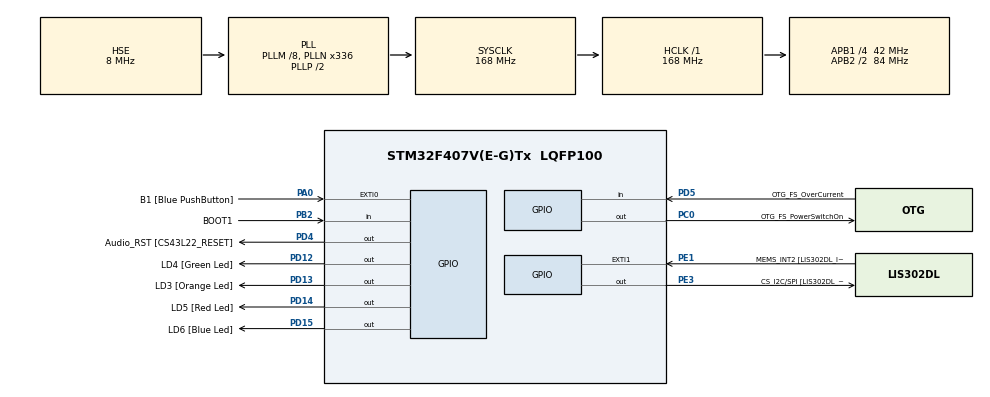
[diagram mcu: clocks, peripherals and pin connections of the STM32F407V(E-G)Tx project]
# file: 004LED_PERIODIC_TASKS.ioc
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Mcu.Family=STM32F4
Mcu.Name=STM32F407V(E-G)Tx
Mcu.Package=LQFP100
NVIC.PriorityGroup=NVIC_PRIORITYGROUP_4
NVIC.TIM6_DAC_IRQn=true\:0\:0\:false\:false\:true\:false\:true
NVIC.TimeBase=TIM6_DAC_IRQn
NVIC.TimeBaseIP=TIM6
PA0-WKUP.GPIO_Label=B1 [Blue PushButton]
PA0-WKUP.Signal=GPXTI0
PA10.GPIO_Label=OTG_FS_ID
PA10.GPIO_Mode=GPIO_MODE_AF_PP
PA10.GPIO_PuPd=GPIO_NOPULL
PA10.GPIO_Speed=GPIO_SPEED_FREQ_LOW
PA10.Signal=USB_OTG_FS_ID
PA11.GPIO_Label=OTG_FS_DM
PA11.GPIO_Mode=GPIO_MODE_AF_PP
PA11.GPIO_PuPd=GPIO_NOPULL
PA11.GPIO_Speed=GPIO_SPEED_FREQ_LOW
PA11.Signal=USB_OTG_FS_DM
PA12.GPIO_Label=OTG_FS_DP
PA12.GPIO_Mode=GPIO_MODE_AF_PP
PA12.GPIO_PuPd=GPIO_NOPULL
PA12.GPIO_Speed=GPIO_SPEED_FREQ_LOW
PA12.Signal=USB_OTG_FS_DP
PA13.GPIO_Label=SWDIO
PA13.Mode=Serial_Wire
PA13.Signal=SYS_JTMS-SWDIO
PA14.GPIO_Label=SWCLK
PA14.Mode=Serial_Wire
PA14.Signal=SYS_JTCK-SWCLK
PA4.GPIO_Label=I2S3_WS [CS43L22_LRCK]
PA4.GPIO_Mode=GPIO_MODE_AF_PP
PA4.GPIO_PuPd=GPIO_NOPULL
PA4.GPIO_Speed=GPIO_SPEED_FREQ_LOW
PA4.Signal=I2S3_WS
PA5.GPIO_Label=SPI1_SCK [LIS302DL_SCL/SPC]
PA5.GPIO_Mode=GPIO_MODE_AF_PP
PA5.GPIO_PuPd=GPIO_NOPULL
PA5.GPIO_Speed=GPIO_SPEED_FREQ_LOW
PA5.Signal=SPI1_SCK
PA6.GPIO_Label=SPI1_MISO [LIS302DL_SDO]
PA6.GPIO_Mode=GPIO_MODE_AF_PP
PA6.GPIO_PuPd=GPIO_NOPULL
PA6.GPIO_Speed=GPIO_SPEED_FREQ_LOW
PA6.Signal=SPI1_MISO
PA7.GPIO_Label=SPI1_MOSI [LIS302DL_SDA/SDI/SDO]
PA7.GPIO_Mode=GPIO_MODE_AF_PP
PA7.GPIO_PuPd=GPIO_NOPULL
PA7.GPIO_Speed=GPIO_SPEED_FREQ_LOW
PA7.Signal=SPI1_MOSI
PA9.GPIO_Label=VBUS_FS
PA9.GPIO_Mode=GPIO_MODE_INPUT
PA9.GPIO_PuPd=GPIO_NOPULL
PA9.Signal=USB_OTG_FS_VBUS
PB10.GPIO_Label=CLK_IN [MP45DT02_CLK]
PB10.GPIO_Mode=GPIO_MODE_AF_PP
PB10.GPIO_PuPd=GPIO_NOPULL
PB10.GPIO_Speed=GPIO_SPEED_FREQ_LOW
PB10.Signal=I2S2_CK
PB2.GPIO_Label=BOOT1
PB2.GPIO_Mode=GPIO_MODE_INPUT
PB2.GPIO_PuPd=GPIO_NOPULL
PB2.Signal=GPIO_Input
PB3.GPIO_Label=SWO
PB3.Signal=SYS_JTDO-SWO
PB6.GPIO_Label=Audio_SCL [CS43L22_SCL]
PB6.GPIO_Mode=GPIO_MODE_AF_OD
PB6.GPIO_PuPd=GPIO_NOPULL
PB6.GPIO_Speed=GPIO_SPEED_FREQ_LOW
PB6.Signal=I2C1_SCL
PB9.GPIO_Label=Audio_SDA [CS43L22_SDA]
PB9.GPIO_Mode=GPIO_MODE_AF_OD
PB9.GPIO_PuPd=GPIO_NOPULL
PB9.GPIO_Speed=GPIO_SPEED_FREQ_LOW
PB9.Signal=I2C1_SDA
PC0.GPIO_Label=OTG_FS_PowerSwitchOn
PC0.GPIO_PuPd=GPIO_NOPULL
PC0.GPIO_Speed=GPIO_SPEED_FREQ_LOW
PC0.PinState=GPIO_PIN_SET
PC0.Signal=GPIO_Output
PC10.GPIO_Label=I2S3_SCK [CS43L22_SCLK]
PC10.GPIO_Mode=GPIO_MODE_AF_PP
PC10.GPIO_PuPd=GPIO_NOPULL
PC10.GPIO_Speed=GPIO_SPEED_FREQ_LOW
PC10.Signal=I2S3_CK
PC12.GPIO_Label=I2S3_SD [CS43L22_SDIN]
PC12.GPIO_Mode=GPIO_MODE_AF_PP
PC12.GPIO_PuPd=GPIO_NOPULL
PC12.GPIO_Speed=GPIO_SPEED_FREQ_LOW
PC12.Signal=I2S3_SD
PC14-OSC32_IN.GPIO_Label=PC14-OSC32_IN
PC14-OSC32_IN.Signal=RCC_OSC32_IN
PC15-OSC32_OUT.GPIO_Label=PC15-OSC32_OUT
PC15-OSC32_OUT.Signal=RCC_OSC32_OUT
PC3.GPIO_Label=PDM_OUT [MP45DT02_DOUT]
PC3.GPIO_Mode=GPIO_MODE_AF_PP
PC3.GPIO_PuPd=GPIO_NOPULL
PC3.GPIO_Speed=GPIO_SPEED_FREQ_LOW
PC3.Signal=I2S2_SD
PC7.GPIO_Label=I2S3_MCK [CS43L22_MCLK]
PC7.GPIO_Mode=GPIO_MODE_AF_PP
PC7.GPIO_PuPd=GPIO_NOPULL
PC7.GPIO_Speed=GPIO_SPEED_FREQ_LOW
PC7.Signal=I2S3_MCK
PD12.GPIO_Label=LD4 [Green Led]
PD12.GPIO_PuPd=GPIO_NOPULL
PD12.GPIO_Speed=GPIO_SPEED_FREQ_LOW
PD12.Signal=GPIO_Output
PD13.GPIO_Label=LD3 [Orange Led]
PD13.GPIO_PuPd=GPIO_NOPULL
PD13.GPIO_Speed=GPIO_SPEED_FREQ_LOW
PD13.Signal=GPIO_Output
PD14.GPIO_Label=LD5 [Red Led]
PD14.GPIO_PuPd=GPIO_NOPULL
PD14.GPIO_Speed=GPIO_SPEED_FREQ_LOW
PD14.Signal=GPIO_Output
PD15.GPIO_Label=LD6 [Blue Led]
PD15.GPIO_PuPd=GPIO_NOPULL
PD15.GPIO_Speed=GPIO_SPEED_FREQ_LOW
PD15.Signal=GPIO_Output
PD4.GPIO_Label=Audio_RST [CS43L22_RESET]
PD4.GPIO_PuPd=GPIO_NOPULL
PD4.GPIO_Speed=GPIO_SPEED_FREQ_LOW
PD4.Signal=GPIO_Output
PD5.GPIO_Label=OTG_FS_OverCurrent
PD5.GPIO_Mode=GPIO_MODE_INPUT
PD5.GPIO_PuPd=GPIO_NOPULL
PD5.Signal=GPIO_Input
PE1.GPIO_Label=MEMS_INT2 [LIS302DL_INT2]
PE1.GPIO_ModeDefaultEXTI=GPIO_MODE_EVT_RISING
PE1.GPIO_PuPd=GPIO_NOPULL
PE1.Signal=GPXTI1
PE3.GPIO_Label=CS_I2C/SPI [LIS302DL_CS_I2C/SPI]
PE3.GPIO_PuPd=GPIO_NOPULL
PE3.GPIO_Speed=GPIO_SPEED_FREQ_LOW
PE3.Signal=GPIO_Output
PH0-OSC_IN.GPIO_Label=PH0-OSC_IN
PH0-OSC_IN.Signal=RCC_OSC_IN
PH1-OSC_OUT.GPIO_Label=PH1-OSC_OUT
PH1-OSC_OUT.Signal=RCC_OSC_OUT
ProjectManager.HeapSize=0x200
ProjectManager.StackSize=0x400
ProjectManager.TargetToolchain=STM32CubeIDE
RCC.48MHZClocksFreq_Value=48000000
RCC.AHBFreq_Value=168000000
RCC.APB1CLKDivider=RCC_HCLK_DIV4
RCC.APB1Freq_Value=42000000
RCC.APB1TimFreq_Value=84000000
RCC.APB2CLKDivider=RCC_HCLK_DIV2
RCC.APB2Freq_Value=84000000
RCC.APB2TimFreq_Value=168000000
RCC.CortexFreq_Value=168000000
RCC.HCLKFreq_Value=168000000
RCC.HSE_VALUE=8000000
RCC.HSI_VALUE=16000000
RCC.LSE_VALUE=32768
RCC.PLLM=8
RCC.PLLN=168
RCC.PLLQ=7
RCC.SYSCLKFreq_VALUE=168000000
RCC.SYSCLKSource=RCC_SYSCLKSOURCE_PLLCLK
RCC.VCOOutputFreq_Value=336000000
VP_SYS_VS_tim6.Mode=TIM6
board=STM32F407G-DISC1

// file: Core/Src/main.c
/* USER CODE BEGIN Header */
/**
  ******************************************************************************
  * @file           : main.c
  * @brief          : Main program body
  ******************************************************************************
  * @attention
  *
  * Copyright (c) 2022 STMicroelectronics.
  * All rights reserved.
  *
  * This software is licensed under terms that can be found in the LICENSE file
  * in the root directory of this software component.
  * If no LICENSE file comes with this software, it is provided AS-IS.
  *
  ******************************************************************************
  */
/* USER CODE END Header */
#include "main.h"

/* USER CODE BEGIN Includes */
#include <stdio.h>
#include "FreeRTOSConfig.h"
#include "FreeRTOS.h"
#include "task.h"

/* USER CODE END Includes */

/* USER CODE BEGIN PV */
#define DWT_CTRL   (*(volatile uint32_t*)0xE0001000)
/* USER CODE END PV */

void SystemClock_Config(void);
static void MX_GPIO_Init(void);
/* USER CODE BEGIN PFP */
static void LED1_function(void* parameters);
static void LED2_function(void* parameters);
static void LED3_function(void* parameters);

extern  void SEGGER_UART_init(uint32_t);
/* USER CODE END PFP */

int main(void)
{
  /* USER CODE BEGIN 1 */
	TaskHandle_t LED1_handle;
	TaskHandle_t LED2_handle;
	TaskHandle_t LED3_handle;
	BaseType_t status;
  /* USER CODE END 1 */

  /* MCU Configuration--------------------------------------------------------*/

  /* Reset of all peripherals, Initializes the Flash interface and the Systick. */
  HAL_Init();

  /* Configure the system clock */
  SystemClock_Config();

  /* Initialize all configured peripherals */
  MX_GPIO_Init();
  /* USER CODE BEGIN 2 */

  //Enable the Cycle counter
  	  DWT_CTRL |= (1<<0);
  	SEGGER_UART_init(250000);
  	  SEGGER_SYSVIEW_Conf();
  	  //SEGGER_SYSVIEW_Start();

  	  status = xTaskCreate(LED1_function,"GREEN LED",200,NULL,2, &LED1_handle);
  	  configASSERT(status == pdPASS);

  	  status = xTaskCreate(LED2_function,"RED LED",200,NULL,2, &LED2_handle);
  	  configASSERT(status == pdPASS);

  	  status = xTaskCreate(LED3_function,"ORANGE LED",200,NULL,2, &LED3_handle);
  	  configASSERT(status == pdPASS);

  	  vTaskStartScheduler();

  /* USER CODE END 2 */

  /* Infinite loop */
  while (1)
  {

  }
}

void SystemClock_Config(void)
{
  RCC_OscInitTypeDef RCC_OscInitStruct = {0};
  RCC_ClkInitTypeDef RCC_ClkInitStruct = {0};

  /** Configure the main internal regulator output voltage
  */
  __HAL_RCC_PWR_CLK_ENABLE();
  __HAL_PWR_VOLTAGESCALING_CONFIG(PWR_REGULATOR_VOLTAGE_SCALE1);
  /** Initializes the RCC Oscillators according to the specified parameters
  * in the RCC_OscInitTypeDef structure.
  */
  RCC_OscInitStruct.OscillatorType = RCC_OSCILLATORTYPE_HSE;
  RCC_OscInitStruct.HSEState = RCC_HSE_ON;
  RCC_OscInitStruct.PLL.PLLState = RCC_PLL_ON;
  RCC_OscInitStruct.PLL.PLLSource = RCC_PLLSOURCE_HSE;
  RCC_OscInitStruct.PLL.PLLM = 8;
  RCC_OscInitStruct.PLL.PLLN = 336;
  RCC_OscInitStruct.PLL.PLLP = RCC_PLLP_DIV2;
  RCC_OscInitStruct.PLL.PLLQ = 7;
  if (HAL_RCC_OscConfig(&RCC_OscInitStruct) != HAL_OK)
  {
    Error_Handler();
  }
  /** Initializes the CPU, AHB and APB buses clocks
  */
  RCC_ClkInitStruct.ClockType = RCC_CLOCKTYPE_HCLK|RCC_CLOCKTYPE_SYSCLK
                              |RCC_CLOCKTYPE_PCLK1|RCC_CLOCKTYPE_PCLK2;
  RCC_ClkInitStruct.SYSCLKSource = RCC_SYSCLKSOURCE_PLLCLK;
  RCC_ClkInitStruct.AHBCLKDivider = RCC_SYSCLK_DIV1;
  RCC_ClkInitStruct.APB1CLKDivider = RCC_HCLK_DIV4;
  RCC_ClkInitStruct.APB2CLKDivider = RCC_HCLK_DIV2;

  if (HAL_RCC_ClockConfig(&RCC_ClkInitStruct, FLASH_LATENCY_5) != HAL_OK)
  {
    Error_Handler();
  }
}

static void MX_GPIO_Init(void)
{
  GPIO_InitTypeDef GPIO_InitStruct = {0};

  /* GPIO Ports Clock Enable */
  __HAL_RCC_GPIOE_CLK_ENABLE();
  __HAL_RCC_GPIOC_CLK_ENABLE();
  __HAL_RCC_GPIOH_CLK_ENABLE();
  __HAL_RCC_GPIOA_CLK_ENABLE();
  __HAL_RCC_GPIOB_CLK_ENABLE();
  __HAL_RCC_GPIOD_CLK_ENABLE();

  /*Configure GPIO pin Output Level */
  HAL_GPIO_WritePin(CS_I2C_SPI_GPIO_Port, CS_I2C_SPI_Pin, GPIO_PIN_RESET);

  /*Configure GPIO pin Output Level */
  HAL_GPIO_WritePin(OTG_FS_PowerSwitchOn_GPIO_Port, OTG_FS_PowerSwitchOn_Pin, GPIO_PIN_SET);

  /*Configure GPIO pin Output Level */
  HAL_GPIO_WritePin(GPIOD, LD4_Pin|LD3_Pin|LD5_Pin|LD6_Pin
                          |Audio_RST_Pin, GPIO_PIN_RESET);

  /*Configure GPIO pin : CS_I2C_SPI_Pin */
  GPIO_InitStruct.Pin = CS_I2C_SPI_Pin;
  GPIO_InitStruct.Mode = GPIO_MODE_OUTPUT_PP;
  GPIO_InitStruct.Pull = GPIO_NOPULL;
  GPIO_InitStruct.Speed = GPIO_SPEED_FREQ_LOW;
  HAL_GPIO_Init(CS_I2C_SPI_GPIO_Port, &GPIO_InitStruct);

  /*Configure GPIO pin : OTG_FS_PowerSwitchOn_Pin */
  GPIO_InitStruct.Pin = OTG_FS_PowerSwitchOn_Pin;
  GPIO_InitStruct.Mode = GPIO_MODE_OUTPUT_PP;
  GPIO_InitStruct.Pull = GPIO_NOPULL;
  GPIO_InitStruct.Speed = GPIO_SPEED_FREQ_LOW;
  HAL_GPIO_Init(OTG_FS_PowerSwitchOn_GPIO_Port, &GPIO_InitStruct);

  /*Configure GPIO pin : PDM_OUT_Pin */
  GPIO_InitStruct.Pin = PDM_OUT_Pin;
  GPIO_InitStruct.Mode = GPIO_MODE_AF_PP;
  GPIO_InitStruct.Pull = GPIO_NOPULL;
  GPIO_InitStruct.Speed = GPIO_SPEED_FREQ_LOW;
  GPIO_InitStruct.Alternate = GPIO_AF5_SPI2;
  HAL_GPIO_Init(PDM_OUT_GPIO_Port, &GPIO_InitStruct);

  /*Configure GPIO pin : B1_Pin */
  GPIO_InitStruct.Pin = B1_Pin;
  GPIO_InitStruct.Mode = GPIO_MODE_EVT_RISING;
  GPIO_InitStruct.Pull = GPIO_NOPULL;
  HAL_GPIO_Init(B1_GPIO_Port, &GPIO_InitStruct);

  /*Configure GPIO pin : I2S3_WS_Pin */
  GPIO_InitStruct.Pin = I2S3_WS_Pin;
  GPIO_InitStruct.Mode = GPIO_MODE_AF_PP;
  GPIO_InitStruct.Pull = GPIO_NOPULL;
  GPIO_InitStruct.Speed = GPIO_SPEED_FREQ_LOW;
  GPIO_InitStruct.Alternate = GPIO_AF6_SPI3;
  HAL_GPIO_Init(I2S3_WS_GPIO_Port, &GPIO_InitStruct);

  /*Configure GPIO pins : SPI1_SCK_Pin SPI1_MISO_Pin SPI1_MOSI_Pin */
  GPIO_InitStruct.Pin = SPI1_SCK_Pin|SPI1_MISO_Pin|SPI1_MOSI_Pin;
  GPIO_InitStruct.Mode = GPIO_MODE_AF_PP;
  GPIO_InitStruct.Pull = GPIO_NOPULL;
  GPIO_InitStruct.Speed = GPIO_SPEED_FREQ_LOW;
  GPIO_InitStruct.Alternate = GPIO_AF5_SPI1;
  HAL_GPIO_Init(GPIOA, &GPIO_InitStruct);

  /*Configure GPIO pin : BOOT1_Pin */
  GPIO_InitStruct.Pin = BOOT1_Pin;
  GPIO_InitStruct.Mode = GPIO_MODE_INPUT;
  GPIO_InitStruct.Pull = GPIO_NOPULL;
  HAL_GPIO_Init(BOOT1_GPIO_Port, &GPIO_InitStruct);

  /*Configure GPIO pin : CLK_IN_Pin */
  GPIO_InitStruct.Pin = CLK_IN_Pin;
  GPIO_InitStruct.Mode = GPIO_MODE_AF_PP;
  GPIO_InitStruct.Pull = GPIO_NOPULL;
  GPIO_InitStruct.Speed = GPIO_SPEED_FREQ_LOW;
  GPIO_InitStruct.Alternate = GPIO_AF5_SPI2;
  HAL_GPIO_Init(CLK_IN_GPIO_Port, &GPIO_InitStruct);

  /*Configure GPIO pins : LD4_Pin LD3_Pin LD5_Pin LD6_Pin
                           Audio_RST_Pin */
  GPIO_InitStruct.Pin = LD4_Pin|LD3_Pin|LD5_Pin|LD6_Pin
                          |Audio_RST_Pin;
  GPIO_InitStruct.Mode = GPIO_MODE_OUTPUT_PP;
  GPIO_InitStruct.Pull = GPIO_NOPULL;
  GPIO_InitStruct.Speed = GPIO_SPEED_FREQ_LOW;
  HAL_GPIO_Init(GPIOD, &GPIO_InitStruct);

  /*Configure GPIO pins : I2S3_MCK_Pin I2S3_SCK_Pin I2S3_SD_Pin */
  GPIO_InitStruct.Pin = I2S3_MCK_Pin|I2S3_SCK_Pin|I2S3_SD_Pin;
  GPIO_InitStruct.Mode = GPIO_MODE_AF_PP;
  GPIO_InitStruct.Pull = GPIO_NOPULL;
  GPIO_InitStruct.Speed = GPIO_SPEED_FREQ_LOW;
  GPIO_InitStruct.Alternate = GPIO_AF6_SPI3;
  HAL_GPIO_Init(GPIOC, &GPIO_InitStruct);

  /*Configure GPIO pin : VBUS_FS_Pin */
  GPIO_InitStruct.Pin = VBUS_FS_Pin;
  GPIO_InitStruct.Mode = GPIO_MODE_INPUT;
  GPIO_InitStruct.Pull = GPIO_NOPULL;
  HAL_GPIO_Init(VBUS_FS_GPIO_Port, &GPIO_InitStruct);

  /*Configure GPIO pins : OTG_FS_ID_Pin OTG_FS_DM_Pin OTG_FS_DP_Pin */
  GPIO_InitStruct.Pin = OTG_FS_ID_Pin|OTG_FS_DM_Pin|OTG_FS_DP_Pin;
  GPIO_InitStruct.Mode = GPIO_MODE_AF_PP;
  GPIO_InitStruct.Pull = GPIO_NOPULL;
  GPIO_InitStruct.Speed = GPIO_SPEED_FREQ_LOW;
  GPIO_InitStruct.Alternate = GPIO_AF10_OTG_FS;
  HAL_GPIO_Init(GPIOA, &GPIO_InitStruct);

  /*Configure GPIO pin : OTG_FS_OverCurrent_Pin */
  GPIO_InitStruct.Pin = OTG_FS_OverCurrent_Pin;
  GPIO_InitStruct.Mode = GPIO_MODE_INPUT;
  GPIO_InitStruct.Pull = GPIO_NOPULL;
  HAL_GPIO_Init(OTG_FS_OverCurrent_GPIO_Port, &GPIO_InitStruct);

  /*Configure GPIO pins : Audio_SCL_Pin Audio_SDA_Pin */
  GPIO_InitStruct.Pin = Audio_SCL_Pin|Audio_SDA_Pin;
  GPIO_InitStruct.Mode = GPIO_MODE_AF_OD;
  GPIO_InitStruct.Pull = GPIO_PULLUP;
  GPIO_InitStruct.Speed = GPIO_SPEED_FREQ_LOW;
  GPIO_InitStruct.Alternate = GPIO_AF4_I2C1;
  HAL_GPIO_Init(GPIOB, &GPIO_InitStruct);

  /*Configure GPIO pin : MEMS_INT2_Pin */
  GPIO_InitStruct.Pin = MEMS_INT2_Pin;
  GPIO_InitStruct.Mode = GPIO_MODE_EVT_RISING;
  GPIO_InitStruct.Pull = GPIO_NOPULL;
  HAL_GPIO_Init(MEMS_INT2_GPIO_Port, &GPIO_InitStruct);

}

/* USER CODE BEGIN 4 */
static void LED1_function(void* parameters)
{
	TickType_t Last_tick_state;
	Last_tick_state = xTaskGetTickCount();
	while(1)
		{
			SEGGER_SYSVIEW_PrintfTarget("Toggling Green LED");
			HAL_GPIO_TogglePin(LD4_GPIO_Port, LD4_Pin);
			// Blocking Delay
			vTaskDelayUntil(&Last_tick_state,pdMS_TO_TICKS(1000));
			//taskYIELD();
		}

}
static void LED2_function(void* parameters)
{
	TickType_t Last_tick_state;
	Last_tick_state = xTaskGetTickCount();
	while(1)
		{
			SEGGER_SYSVIEW_PrintfTarget("Toggling RED LED");
			HAL_GPIO_TogglePin(LD5_GPIO_Port, LD5_Pin);
			// Blocking Delay
			vTaskDelayUntil(&Last_tick_state,pdMS_TO_TICKS(800));
			//taskYIELD();
		}

}
static void LED3_function(void* parameters)
{
TickType_t Last_tick_state;
Last_tick_state = xTaskGetTickCount();
	while(1)
		{
			SEGGER_SYSVIEW_PrintfTarget("Toggling ORANGE LED");
			HAL_GPIO_TogglePin(LD3_GPIO_Port, LD3_Pin);
			// Blocking Delay
			vTaskDelayUntil(&Last_tick_state,pdMS_TO_TICKS(400));

			//taskYIELD();
		}

}

/* USER CODE END 4 */

void HAL_TIM_PeriodElapsedCallback(TIM_HandleTypeDef *htim)
{
  if (htim->Instance == TIM6) {
    HAL_IncTick();
  }
}

void Error_Handler(void)
{
  __disable_irq();
  while (1)
  {
  }
}
